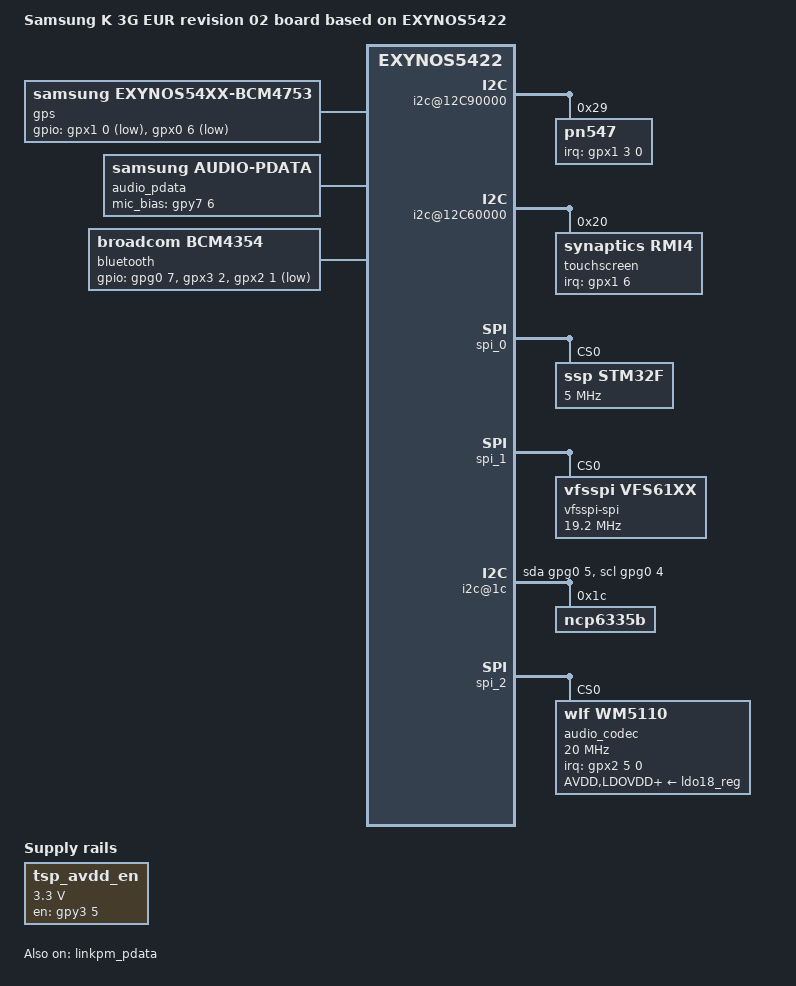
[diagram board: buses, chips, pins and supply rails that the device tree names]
/*
 * SAMSUNG universal5422 board device tree source
 *
 * Copyright (c) 2013 Samsung Electronics Co., Ltd.
 *             http://www.samsung.com
 *
 * This program is free software; you can redistribute it and/or modify
 * it under the terms of the GNU General Public License version 2 as
 * published by the Free Software Foundation.
*/

/dts-v1/;
#include "exynos5422_evt0-k3g_common.dtsi"
#include "exynos5422-k_battery.dtsi"
#include "exynos5-sec_modem-xmm6360.dtsi"

/ {
	model = "Samsung K 3G EUR revision 02 board based on EXYNOS5422";
	model_info-chip = <5422>;
	model_info-platform = "k3g";
	model_info-subtype = "k3g_eur_open";
	model_info-hw_rev = <2>;
	model_info-hw_rev_end = <2>;
	compatible = "samsung,K 3G EUR,r02", "samsung,exynos5422";

	dwmmc2@12220000 {
		vmmc-en-gpio = <&gpy2 0 0x1>;
		vqmmc-en-gpio = <&gpy3 1 0x1>;
	};

	pinctrl@14010000 {
		uart1_rts: uart1-rts {
			samsung,pins = "gpa0-7";
			samsung,pin-function = <2>;
			samsung,pin-pud = <0>;
			samsung,pin-con-pdn = <1>;
			samsung,pin-pud-pdn = <0>;
		};

		uart1_cts: uart1-cts {
			samsung,pins = "gpa0-6";
			samsung,pin-function = <2>;
			samsung,pin-pud = <0>;
			samsung,pin-con-pdn = <2>;
			samsung,pin-pud-pdn = <1>;
		};

		uart1_tx: uart1-tx {
			samsung,pins = "gpa0-5";
			samsung,pin-function = <2>;
			samsung,pin-pud = <0>;
			samsung,pin-con-pdn = <2>;
			samsung,pin-pud-pdn = <3>;
		};

		uart1_rx: uart1-rx {
			samsung,pins = "gpa0-4";
			samsung,pin-function = <2>;
			samsung,pin-pud = <3>;
			samsung,pin-con-pdn = <2>;
			samsung,pin-pud-pdn = <3>;
		};

		nfc_cfg: nfc-cfg {
	            samsung,pins = "gph0-6";
	            samsung,pin-function = <2>;
	        };
	};

	serial@12C10000 {
		pinctrl-0 = <&uart1_rts &uart1_cts &uart1_tx &uart1_rx>;
	};

	gps {
		compatible = "samsung,exynos54xx-bcm4753";
		gpios = <&gpx1 0 0x1   /* GPS_EN */
             &gpx0 6 0xf   /* GPS_INT */
			>;
		status = "okay";
	};

	i2c@12C90000 {
		samsung,i2c-sda-delay = <100>;
		samsung,i2c-max-bus-freq = <400000>;
		#address-cells = <1>;
		#size-cells = <0>;
		status = "okay";

		pn547@29 {
			compatible = "pn547";
			reg = <0x29>;
			interrupts = <3 0 0>;
			interrupt-parent = <&gpx1>;

			pn547-en = <&gpg1 2 0x00>;
			pn547-firmware = <&gpg1 1 0x00>;
			pn547-irq = <&gpx1 3 0xf>;
			pn547-clk-req = <&gpx0 0 0xf>;
			pn547-clk-use = <1>;
			pinctrl-names = "default";
			pinctrl-0 = <&nfc_cfg>;
			clocks = <&clock 1217>;
			clock-names = "sclk_isp_sensor1";
		};
	};

	tsp_avdd_en {
		compatible = "regulator-fixed";
		regulator-name = "tsp_avdd_en";
		regulator-min-microvolt = <3300000>;
		regulator-max-microvolt = <3300000>;
		gpio = <&gpy3 5 0>;
		enable-active-high;
	};

	pinctrl@13400000 {
		attn_irq: attn-irq {
			samsung,pins = "gpx1-6";
			samsung,pin-function = <0xf>;
			samsung,pin-pud = <0>;
			samsung,pin-drv = <0>;
		};

		attn_input: attn-input {
			samsung,pins = "gpx1-6";
			samsung,pin-function = <0>;
			samsung,pin-pud = <1>;
			samsung,pin-drv = <0>;
		};
	};

	pinctrl@14010000 {
		i2c0_bus: i2c0-bus {
			samsung,pins = "gpb3-1", "gpb3-0";
			samsung,pin-function = <2>;
			samsung,pin-pud = <0>;
			samsung,pin-drv = <0>;
		};

		i2c_pdn_off: i2c-pdn_off {
			samsung,pins = "gpb3-1", "gpb3-0";
			samsung,pin-con-pdn = <2>;
			samsung,pin-pud-pdn = <1>;
		};

		i2c_pdn_sleep: i2c-pdn_sleep {
			samsung,pins = "gpb3-1", "gpb3-0";
			samsung,pin-con-pdn = <2>;
			samsung,pin-pud-pdn = <0>;
		};
	};

	i2c@12C60000 {
		samsung,i2c-sda-delay = <100>;
		samsung,i2c-max-bus-freq = <400000>;
		status = "okay";
		touchscreen@20 {
			compatible = "synaptics,rmi4";
			reg = <0x20>;
			pinctrl-names = "on_state", "off_state", "sleep_state";
			pinctrl-0 = <&attn_irq>;
			pinctrl-1 = <&attn_input &i2c_pdn_off>;
			pinctrl-2 = <&attn_irq &i2c_pdn_sleep>;
			synaptics,irq_gpio = <&gpx1 6 0>;
			synaptics,irq_type = <8200>;
			synaptics,max_coords = <1079 1919>;	/* x y */
			synaptics,num_lines = <29 16>;		/* rx tx */
			synaptics,regulator_dvdd = "tsp_io";
			synaptics,regulator_avdd = "tsp_avdd_en";
			synaptics,project_name = "K", "G900H";
		};
	};

	spi_0: spi@12d20000 {
		#address-cells = <1>;
		#size-cells = <0>;
		pinctrl-names = "default";
		pinctrl-0 = <&spi0_bus>;

		STM32F@0 {
			compatible = "ssp,STM32F";
			reg = <0>;
			spi-max-frequency = <5000000>;
			pinctrl-names = "default";
			pinctrl-0 = <&ssp_irq &ssp_irq2 &ssp_ap_int>;

			gpio-controller;
			#gpio-cells = <2>;
			ssp-irq = <&gpx3 3 0x00>;
			ssp-irq2 = <&gpx3 4 0x00>;
			ssp-ap-int = <&gpx3 0 0x00>;
			ssp-reset = <&gpg0 0 0x00>;
			ssp-acc-position = <6>;
			ssp-mag-position = <6>;
			ssp-sns-combination = <0>;
			ssp-ap-rev = <1>;

			controller-data {
				cs-gpio = <&gpa2 1 0>;
				samsung,spi-feedback-delay = <0>;
			};
		};
	};

	/* fingerprint sensor pin control */
	pinctrl@13400000 {
		ocp_flag: ocf-flag {
			samsung,pins = "gpx2-3";
			samsung,pin-function = <0>;
			samsung,pin-pud = <3>;
			samsung,pin-drv = <3>;
		};
		btp_irq: btp-irq {
			samsung,pins = "gpx3-5";
			samsung,pin-function = <0>;
			samsung,pin-pud = <1>;
			samsung,pin-drv = <3>;
		};
		btp_irqsleep: btp-irqsleep {
			samsung,pins = "gpx3-5";
			samsung,pin-function = <0>;
			samsung,pin-pud = <1>;
		};
		btp_irqidle: btp-irqidle {
			samsung,pins = "gpx3-5";
			samsung,pin-function = <0xf>;
			samsung,pin-pud = <3>;
		};
	};

	pinctrl@13410000 {
		btp_reset: btp-reset {
			samsung,pins = "gpd1-1";
			samsung,pin-function = <1>;
			samsung,pin-pud = <1>;
			samsung,pin-drv = <0>;
		};
		btp_ldo: btp-ldo {
			samsung,pins = "gpy4-0";
			samsung,pin-function = <1>;
			samsung,pin-pud = <1>;
			samsung,pin-drv = <0>;
		};
	};

	pinctrl@14010000 {
		spi1_bus: spi1-bus {
			samsung,pin-drv = <3>;
		};

		spi1_cs: spi1-cs {
			samsung,pin-drv = <3>;
		};
	};

	spi_1: spi@12d30000 {
		/delete-property/ dma-mode;
		/delete-property/ dmas;
		/delete-property/ dma-names;
		#address-cells = <1>;
		#size-cells = <0>;
		pinctrl-names = "default";
		pinctrl-0 = <&spi1_bus>;

		vfsspi-spi@0 {
			compatible = "vfsspi,vfs61xx";
			reg = <0>;
			spi-max-frequency = <19200000>;
			pinctrl-names = "default", "sleep", "idle";
			pinctrl-0 = <&btp_irq &btp_reset &btp_ldo &ocp_flag>;
			pinctrl-1 = <&btp_irqsleep>;
			pinctrl-2 = <&btp_irqidle>;

			gpio-controller;
			#gpio-cells = <2>;

			vfsspi-sleepPin = <&gpd1 1 0x00>;
			vfsspi-drdyPin = <&gpx3 5 0x00>;
			vfsspi-ldoPin = <&gpy4 0 0x00>;
			/* vfsspi-ocpflag = <&gpx2 3 0x00>; */
			vfsspi-ldocontrol = <1>;
			vfsspi-orient = <1>;
			vfsspi-irqpincon = <1>; /* 1: K3G(5422), 2: KQ(5430) */

			controller-data {
				cs-gpio = <&gpa2 5 0 0 3>;
				samsung,spi-feedback-delay = <0>;
			};
		};
	};

	i2c@60{
		status = "disabled";
	};

	i2c@1c{
		compatible = "i2c-gpio";
		gpios = <&gpg0 5 0 /* sda */
                          &gpg0 4 0 /* scl */
                          >;
		i2c-gpio,delay-us = <2>;
		#address-cells = <1>;
		#size-cells = <0>;
		status = "okay";

		ncp6335b@1c {
			compatible = "ncp6335b";
			reg = <0x1c>;
			ncp6335b,dev_name = "ncp6335b";
		};
	};

	/* modem_interface_driver: 3G */
	mif_pdata {
		compatible = "sec_modem,modem_pdata";
		status = "okay";
		pinctrl-names = "default";
		pinctrl-0 = <&ap_dump_int &cp_on &reset_req_n>;

		mif,gpio_cp_on = <&gpg1 4 0x1>;
		mif,gpio_reset_req_n = <&gpj4 1 0x1>;
		mif,gpio_cp_reset = <&gpx1 1 0x1>;
		mif,gpio_pda_active = <&gpx3 6 0x1>;
		mif,gpio_phone_active = <&gpx2 7 0xf>;
		mif,gpio_cp_dump_int = <&gpx2 6 0x0>;
		mif,gpio_ap_dump_int = <&gpg1 6 0x1>;
	}; /* end of mif_pdata */

	/* modem_interface_driver: 3G */
	linkpm_pdata {
		compatible = "sec_modem,linkpm_pdata";
		status = "okay";
		pinctrl-names = "default";
		pinctrl-0 = <&link_active &link_slavewake>;

		reg = <0x12110000 0x100>, /* EHCI */
		      <0x12130000 0x100>; /* PHY */

		linkpm,gpio_link_active = <&gpg1 7 0x1>;
		linkpm,gpio_link_hostwake = <&gpx1 2 0xf>;
		linkpm,gpio_link_slavewake = <&gpg1 0 0x1>;
		linkpm,gpio_suspend_req = <&gpg1 3 0x1>;
	};

	pinctrl@14000000 {
		link_slavewake: link_slavewake {
			samsung,pins = "gpg1-0";
			samsung,pin-function = <1>;
			samsung,pin-con-pdn = <3>;
			samsung,pin-pud-pdn = <0>;
		};
		cp_on: cp_on {
			samsung,pins = "gpg1-4";
			samsung,pin-function = <1>;
			samsung,pin-con-pdn = <0>;
			samsung,pin-pud-pdn = <0>;
		};
		ap_dump_int: ap_dump_int {
			samsung,pins = "gpg1-6";
			samsung,pin-function = <1>;
			samsung,pin-con-pdn = <3>;
			samsung,pin-pud-pdn = <0>;
		};
		link_active: link_active {
			samsung,pins = "gpg1-7";
			samsung,pin-function = <1>;
			samsung,pin-con-pdn = <0>;
			samsung,pin-pud-pdn = <0>;
		};
		reset_req_n: reset_req_n {
			samsung,pins = "gpj4-1";
			samsung,pin-function = <1>;
			samsung,pin-con-pdn = <3>;
			samsung,pin-pud-pdn = <0>;
		};
	};

	spi_2: spi@12d40000 {
		#address-cells = <1>;
		#size-cells = <0>;
		pinctrl-names = "default";
		pinctrl-0 = <&spi2_bus>;

		audio_codec: wm5110@0 {
			compatible = "wlf,wm5110";
			reg = <0x0>;
			spi-max-frequency = <20000000>;
			interrupts = <5 0 0>;
			interrupt-parent = <&gpx2>;

			gpio-controller;
			#gpio-cells = <2>;

			pinctrl-names ="default";
			pinctrl-0 = <&codec_reset &codec_ldoena &audio_ctrl>;

			wlf,reset = <&gpg2 0 0>;
			wlf,ldoena = <&gpg0 1 0>;
			wlf,init-mic-delay = <30>;
			wlf,micd-detect-debounce = <300>;
			wlf,micd-bias-start-time = <0x1>;
			wlf,micd-rate = <0x7>;
			wlf,micd-dbtime = <0x1>;
			wlf,micd-timeout = <1000>;
			wlf,micd-force-micbias;
			wlf,micd-ranges = <
				139 226
				295 115
				752 114
				1257 217
			>;

			wlf,micd-configs = <
				0x0 1 0
			>;

			wlf,micbias1 = <2800 0 1 0 0>;
			wlf,micbias2 = <1800 0 1 0 0>;
			wlf,micbias3 = <1800 0 1 0 0>;

			wlf,gpio-defaults = <
				0xA101
				0xA101
				0xA101
				0xA101
				0x8101
			>;

			wlf,gpsw = <0x3>;
			wlf,use-jd-gpio;
			wlf,jd-gpio-nopull;
			wlf,micd-software-compare;
			wlf,micd-open-circuit-declare = <1>;

			wlf,max-channels-clocked = <2 0 0>;
			/* 0:MICVDD 1:MICBIAS1 2:MICBIAS2 3:MICBIAS3 */
			wlf,dmic-ref = <2 1 3 2>;
			/* 1st cell:IN1 2rd cell:IN2 3nd cell:IN3 4th cell:IN4 */
			wlf,inmode = <2 0 2 2>;
			/* 1st cell:OUT1 2nd cell:OUT2 3rd cell:OUT3... 6th cell:OUT6 */
			wlf,out-mono = <0 0 1 0 0 0>;

			AVDD-supply = <&ldo18_reg>;
			LDOVDD-supply = <&ldo18_reg>;
			DBVDD1-supply = <&ldo18_reg>;

			CPVDD-supply = <&ldo18_reg>;
			DBVDD2-supply = <&ldo18_reg>;
			DBVDD3-supply = <&ldo18_reg>;
			SPKVDDL-supply = <&ldo18_reg>;
			SPKVDDR-supply = <&ldo18_reg>;

			adsps {
				#address-cells = <1>;
				#size-cells = <0>;

				adsp@1100 {
					reg = <0x1100>;
					firmware {
						EDAC {
							wlf,wmfw-file = "edac";
							wlf,bin-file = "edac";
						};
						TRACE {
							wlf,wmfw-file = "trace";
							wlf,compr-caps = <1 8 0x4 1 8000 16000 24000>;
						};
					};
				};
				adsp@1200 {
					reg = <0x1200>;
					firmware {
						TX_NB {
							wlf,wmfw-file = "tx-nb";
						};
						TX_WB {
							wlf,wmfw-file = "tx-wb";
						};
						TX_SWB_INTERVIEW {
							wlf,wmfw-file = "tx-swb";
						};
						TX_SWB_CONVERSATION {
							wlf,wmfw-file = "tx-swb";
						};
					};
				};
				adsp@1300 {
					reg = <0x1300>;
					firmware {
						TX_NB {
							wlf,wmfw-file = "tx-nb";
							wlf,bin-file = "tx-nb";
						};
						TX_WB {
							wlf,wmfw-file = "tx-wb";
							wlf,bin-file = "tx-wb";
						};
						TX_SWB_INTERVIEW {
							wlf,wmfw-file = "tx-swb";
							wlf,bin-file = "tx-swb-interview";
						};
						TX_SWB_CONVERSATION {
							wlf,wmfw-file = "tx-swb";
							wlf,bin-file = "tx-swb-conversation";
						};
						VOICECONTROL {
							wlf,wmfw-file = "ez2-control";
							wlf,bin-file = "ez2-control";
						};
						LPSD {
							wlf,wmfw-file = "ez2-control";
							wlf,bin-file = "lpsd-control";
						};
					};
				};
				adsp@1400 {
					reg = <0x1400>;
					firmware {
						RX_NB {
							wlf,wmfw-file = "rx-anc-nb";
							wlf,bin-file = "rx-anc-nb";
						};
						RX_WB {
							wlf,wmfw-file = "rx-anc-wb";
							wlf,bin-file = "rx-anc-wb";
						};
					};
				};
			};
			controller-data {
				cs-gpio = <&gpb1 2 0>;
				samsung,spi-feedback-delay = <0>;
			};
		};
	};

	audio_pdata {
		compatible = "samsung,audio-pdata";

		mic_bias_gpio = <&gpy7 6 0>;
		status = "okay";
	};

	pinctrl@13400000 {
		audio_ctrl: audio-ctl {
			samsung,pins = "gpy7-6";
			samsung,pin-con-pdn = <3>;
		};
	};

	pinctrl@14000000 {
		codec_reset: codec-reset {
			samsung,pins ="gpg2-0";
			samsung,pin-function = <1>;
			samsung,pin-pud = <1>;
			samsung,pin-con-pdn =<3>;
			samsung,pin-pud-pdn = <1>;
		};
		codec_ldoena: codec-ldoena {
			samsung,pins ="gpg0-1";
			samsung,pin-con-pdn =<3>;
		};
	};

	pinctrl@14010000 {
		uart0_rts: uart0-rts {
			samsung,pins = "gpa0-3";
			samsung,pin-function = <2>;
			samsung,pin-pud = <3>;
			samsung,pin-con-pdn = <1>;
			samsung,pin-pud-pdn = <3>;
		};

		uart0_cts: uart0-cts {
			samsung,pins = "gpa0-2";
			samsung,pin-function = <2>;
			samsung,pin-pud = <3>;
			samsung,pin-con-pdn = <2>;
			samsung,pin-pud-pdn = <3>;
		};

		uart0_tx: uart0-tx {
			samsung,pins = "gpa0-1";
			samsung,pin-function = <2>;
			samsung,pin-pud = <3>;
			samsung,pin-con-pdn = <1>;
			samsung,pin-pud-pdn = <3>;
		};

		uart0_rx: uart0-rx {
			samsung,pins = "gpa0-0";
			samsung,pin-function = <2>;
			samsung,pin-pud = <3>;
			samsung,pin-con-pdn = <2>;
			samsung,pin-pud-pdn = <3>;
		};
	};

/*
			samsung,pins = "gpa0-0";

			samsung,pin-function = <2>;
			0 : input, 1 : output 2 : special_function

			samsung,pin-pud = <0>;
			0 : reserved 1 : pull down 2 : reserved 3 : pull up

			samsung,pin-con-pdn = <2>;
			0 : output0 1 : output1 2: input 3: previous state

			samsung,pin-pud-pdn = <0>;
			0 : pull up/down disable 1 : pull down 2 : reserved 3 : pull up
*/

	serial@12C00000 {
		pinctrl-0 = <&uart0_rts &uart0_cts &uart0_tx &uart0_rx>;
	};

	pinctrl@14000000 {
		cfg_en: cfg-en {
			samsung,pins ="gpg0-7";
			samsung,pin-function = <1>;
			samsung,pin-pud = <1>;
			samsung,pin-con-pdn = <3>;
			samsung,pin-pud-pdn = <1>;
		};
	};

	pinctrl@13400000 {
		cfg_hostwake: cfg-hostwake {
			samsung,pins = "gpx2-1";
			samsung,pin-function = <0>;
			samsung,pin-pud = <2>;
			samsung,pin-con-pdn = <2>;
			samsung,pin-pud-pdn = <0>;
		};

		cfg_btwake: cfg-btwake {
			samsung,pins = "gpx3-2";
			samsung,pin-function = <1>;
			samsung,pin-pud = <1>;
			samsung,pin-con-pdn = <0>;
			samsung,pin-pud-pdn = <1>;
		};
	};

	bluetooth {
		compatible = "broadcom,bcm4354";

		gpios = <&gpg0 7 0	/*BT_EN*/
				&gpx3 2 0	/*BT_WAKE*/
				&gpx2 1 0xF	/*BT_HOST_WAKE*/ >;

		pinctrl-names = "default";
		pinctrl-0=<&cfg_hostwake &cfg_btwake &cfg_en>;
		status = "okay";
	};

	usb_notifier {
		gpios_redriver_en = <&gpy7 5 0x1>; /* USB3.0_REDRIVER_EN */
	};


};
